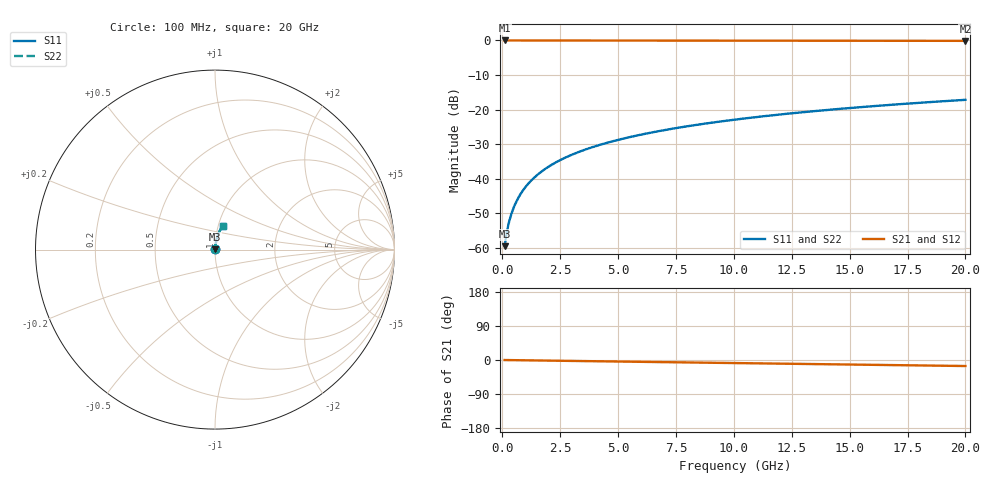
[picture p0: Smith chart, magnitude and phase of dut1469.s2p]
! Touchstone file exported from HFSS 2026.1.0
!  File:  C:/ffzhzh/LocalFiles/Ansys_Project_Files/temp_train_TMRDL_1469_1783167484_55132.aedt
!  Generated:  08:19:14 PM Jul  4, 2026
!  Design:  TMRDL
!  Project:  temp_train_TMRDL_1469_1783167484_55132
! Variables:
!  h_bsmrdl = 2um
!  h_ox = 20um
!  h_rdl = 5um
!  h_sub = 80um
!  h_tmrdl = 5.34um
!  h_tsv = 80um
!  h_via = 3um
!  l_bsmrdl = 300um
!  l_sub = 608.94um
!  l_tmrdl = 208.94um
!  m_sub = 200um
!  pitch = 52.46um
!  r_tsv = 6um
!  s_tmrdl = 10um
!  w_bsmrdl = 18um
!  w_sub = 500um
!  w_tmrdl = 27.92um
!  x_tsv_center1 = 222.9um
!  x_tsv_center2 = 540.9um
!  x_tsv_center3 = 777.76um
!  x_tsv_center4 = 1095.76um
!  x_tsv_center5 = 1332.62um
!  x_tsv_center6 = 1650.62um
# GHz S MA R 50.000000
! Terminal data exported
! Port[1] = TM_RDL1_1_T1
! Port[2] = TM_RDL1_1_T2
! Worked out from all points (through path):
!   200 points, 100 MHz to 20 GHz, reference 50 ohm
!   highest |S21| = -0.01 dB at 100 MHz (marker M1); lowest = -0.1 dB at 20 GHz (marker M2)
!   group delay of S21, straight-line fit = 2.2 ps
!   lowest |S11| = -59.5 dB at 100 MHz (marker M3), VSWR 1.00, Z = 50.1 + j0.0827 ohm
!   |S11| at or under -10 dB: start of sweep to end of sweep
!   |S22| runs from -59.5 to -17.2 dB; largest |S21 - S12| = 3.4e-15
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0.1  0.001064 50.9  0.9993 -0.1  0.9993 -0.1  0.001064 50.9
! Gamma 0 0 0 0
! Port Impedance 50 0 50 0
0.2  0.001747 65.3  0.9993 -0.2  0.9993 -0.2  0.001747 65.3
0.3  0.002452 71.7  0.9992 -0.3  0.9992 -0.3  0.002452 71.7
0.4  0.003171 75.4  0.9992 -0.3  0.9992 -0.3  0.003171 75.4
0.5  0.0039 77.8  0.9992 -0.4  0.9992 -0.4  0.0039 77.8
0.7  0.005374 80.6  0.9991 -0.6  0.9991 -0.6  0.005374 80.6
0.8  0.006115 81.4  0.9991 -0.7  0.9991 -0.7  0.006115 81.4
1  0.0076 82.6  0.9991 -0.8  0.9991 -0.8  0.0076 82.6
1.2  0.009086 83.2  0.999 -1.0  0.999 -1.0  0.009086 83.2
1.4  0.01057 83.6  0.999 -1.2  0.999 -1.2  0.01057 83.6
1.7  0.01279 84.0  0.9989 -1.4  0.9989 -1.4  0.01279 84.0
2  0.015 84.1  0.9988 -1.6  0.9988 -1.6  0.015 84.1
2.7  0.02011 84.0  0.9985 -2.2  0.9985 -2.2  0.02011 84.0
3.5  0.02588 83.7  0.9981 -2.9  0.9981 -2.9  0.02588 83.7
4.2  0.03088 83.3  0.9978 -3.4  0.9978 -3.4  0.03088 83.3
5  0.03655 82.9  0.9974 -4.1  0.9974 -4.1  0.03655 82.9
6.8  0.04919 81.8  0.9965 -5.5  0.9965 -5.5  0.04919 81.8
8.3  0.05964 80.8  0.9956 -6.7  0.9956 -6.7  0.05964 80.8
10.1  0.07209 79.6  0.9945 -8.1  0.9945 -8.1  0.07209 79.6
13.4  0.09465 77.3  0.9922 -10.7  0.9922 -10.7  0.09465 77.3
16.7  0.1168 74.9  0.9894 -13.3  0.9894 -13.3  0.1168 74.9
20  0.1386 72.4  0.9863 -15.9  0.9863 -15.9  0.1386 72.4
